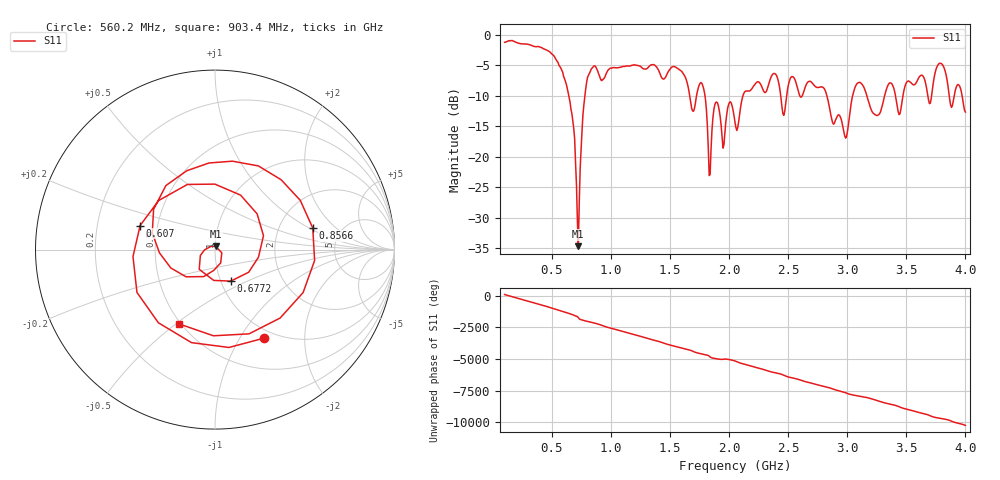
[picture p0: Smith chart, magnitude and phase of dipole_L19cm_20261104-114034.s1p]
! Dipole length 19 cm, measured 20261104-114034
# GHZ S RI R 50.000000000000
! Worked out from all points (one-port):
!   501 points, 100 MHz to 4 GHz, reference 50 ohm
!   lowest |S11| = -34.7 dB at 724 MHz (marker M1), VSWR 1.04, Z = 50.3 + j1.83 ohm
!   |S11| at or under -10 dB: 1.796 GHz to 2.117 GHz (321.3 MHz wide, 16.4 % of centre); 2.828 GHz to 3.045 GHz (217.7 MHz wide, 7.41 % of centre); 3.166 GHz to 3.316 GHz (149.4 MHz wide, 4.61 % of centre)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
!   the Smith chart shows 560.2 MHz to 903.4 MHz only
!   S11 on the Smith chart (normalised r, x): 560.2 MHz: 0.88, -1.28; 607 MHz: 0.40, +0.13; 677.2 MHz: 1.11, -0.41; 856.6 MHz: 3.11, +1.08; 903.4 MHz: 0.49, -0.52
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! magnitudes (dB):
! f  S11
! 100 MHz  -1.2
! 560.2 MHz  -5.0
! 591.4 MHz  -6.1
! 607 MHz  -7.2
! 677.2 MHz  -14.1
! 724 MHz  -34.7
! 778.6 MHz  -10.2
! 856.6 MHz  -5.1
! 903.4 MHz  -6.8
! 1.075 GHz  -5.3
! 1.566 GHz  -5.5
! 1.691 GHz  -12.5
! 1.777 GHz  -8.3
! 1.839 GHz  -22.9
! 1.886 GHz  -11.1
! 1.949 GHz  -18.6
! 2.003 GHz  -11.1
! 2.058 GHz  -15.2
! 2.378 GHz  -6.3
! 2.463 GHz  -13.2
! 2.541 GHz  -6.9
! 2.986 GHz  -16.9
! 3.025 GHz  -12.4
! 3.438 GHz  -13.1
! 3.516 GHz  -7.5
! 3.696 GHz  -11.3
! 3.797 GHz  -4.7
! 4 GHz  -12.7
